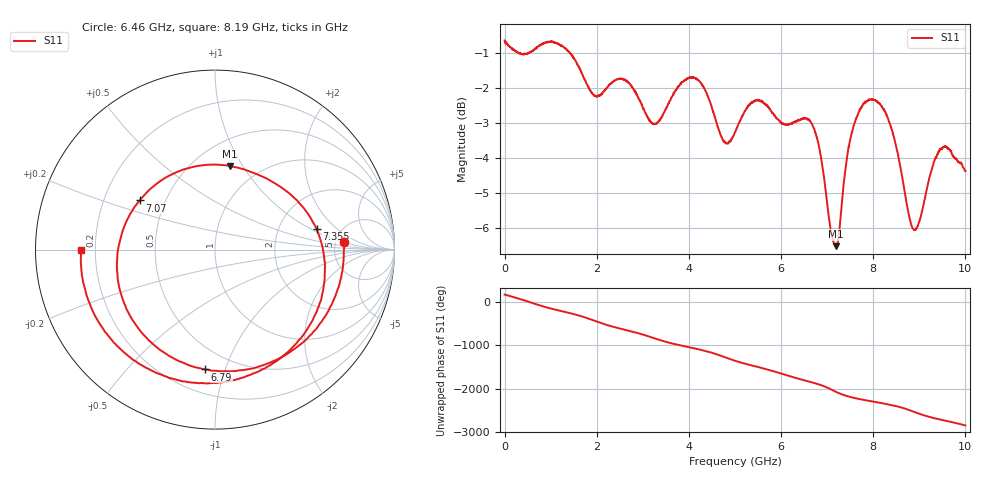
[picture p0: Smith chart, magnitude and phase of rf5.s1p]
!Keysight Technologies,M9375A,MY54321142,A.14.10.03
!Date: Thursday, September 11, 2025 11:51:55
!Correction: S11(C  2-Port  )
!S1P File: Measurement: :
# Hz S  dB  R 50
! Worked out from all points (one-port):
!   2001 points, 1 MHz to 10 GHz, reference 50 ohm
!   lowest |S11| = -6.5 dB at 7.195 GHz (marker M1), VSWR 2.79, Z = 36.9 + j44.1 ohm
!   |S11| at or under -10 dB: nowhere
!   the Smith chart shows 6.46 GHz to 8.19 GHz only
!   S11 on the Smith chart (normalised r, x): 6.46 GHz: 5.92, +1.02; 6.79 GHz: 0.35, -0.86; 7.07 GHz: 0.36, +0.26; 7.355 GHz: 3.33, +1.13; 8.19 GHz: 0.14, -0.00
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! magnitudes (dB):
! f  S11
! 1 MHz  -0.6
! 391 MHz  -1.0
! 1.251 GHz  -0.8
! 1.956 GHz  -2.2
! 2.501 GHz  -1.7
! 3.246 GHz  -3.0
! 3.751 GHz  -2.0
! 4.186 GHz  -1.8
! 4.756 GHz  -3.5
! 5 GHz  -3.3
! 5.475 GHz  -2.3
! 6.25 GHz  -3.0
! 6.46 GHz  -2.9
! 6.64 GHz  -3.0
! 6.79 GHz  -3.5
! 7.07 GHz  -6.0
! 7.195 GHz  -6.5
! 7.26 GHz  -6.1
! 7.355 GHz  -4.8
! 7.5 GHz  -3.5
! 7.81 GHz  -2.4
! 8.19 GHz  -2.5
! 8.455 GHz  -3.4
! 8.75 GHz  -5.5
! 8.945 GHz  -6.0
! 9.3 GHz  -4.2
! 9.49 GHz  -3.7
! 10 GHz  -4.4
